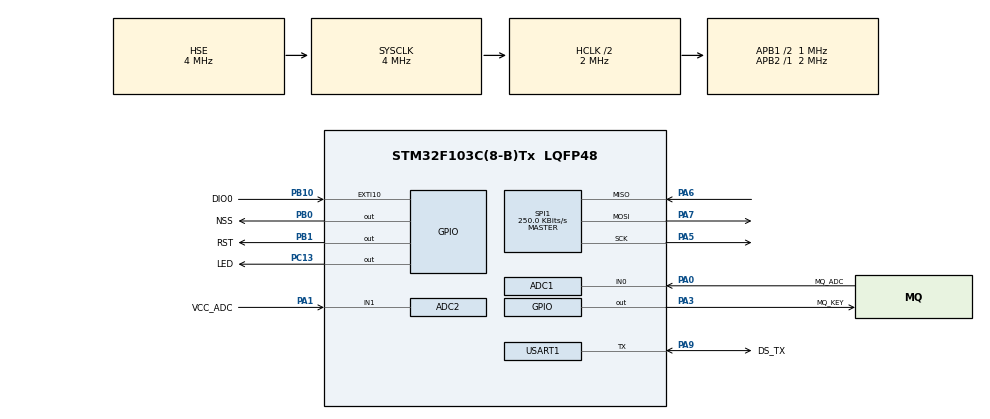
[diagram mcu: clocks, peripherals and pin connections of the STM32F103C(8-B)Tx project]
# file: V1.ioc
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ADC1.Channel-3\#ChannelRegularConversion=ADC_CHANNEL_0
ADC1.NbrOfConversionFlag=1
ADC1.Rank-3\#ChannelRegularConversion=1
ADC1.SamplingTime-3\#ChannelRegularConversion=ADC_SAMPLETIME_1CYCLE_5
ADC1.master=1
ADC2.Channel-0\#ChannelRegularConversion=ADC_CHANNEL_1
ADC2.NbrOfConversionFlag=1
ADC2.Rank-0\#ChannelRegularConversion=1
ADC2.SamplingTime-0\#ChannelRegularConversion=ADC_SAMPLETIME_1CYCLE_5
Mcu.Family=STM32F1
Mcu.Name=STM32F103C(8-B)Tx
Mcu.Package=LQFP48
NVIC.EXTI15_10_IRQn=true\:1\:0\:true\:false\:true\:true\:true\:true
NVIC.PriorityGroup=NVIC_PRIORITYGROUP_4
NVIC.TIM1_UP_IRQn=true\:2\:0\:true\:false\:true\:true\:true\:true
PA0-WKUP.GPIO_Label=MQ_ADC
PA0-WKUP.Signal=ADCx_IN0
PA1.GPIO_Label=VCC_ADC
PA1.Signal=ADCx_IN1
PA13.Mode=Serial_Wire
PA13.Signal=SYS_JTMS-SWDIO
PA14.Mode=Serial_Wire
PA14.Signal=SYS_JTCK-SWCLK
PA3.GPIO_Label=MQ_KEY
PA3.Signal=GPIO_Output
PA5.Mode=Full_Duplex_Master
PA5.Signal=SPI1_SCK
PA6.Mode=Full_Duplex_Master
PA6.Signal=SPI1_MISO
PA7.Mode=Full_Duplex_Master
PA7.Signal=SPI1_MOSI
PA9.GPIO_Label=DS_TX
PA9.Mode=Half_duplex(single_wire_mode)
PA9.Signal=USART1_TX
PB0.GPIO_Label=NSS
PB0.PinState=GPIO_PIN_SET
PB0.Signal=GPIO_Output
PB1.GPIO_Label=RST
PB1.PinState=GPIO_PIN_SET
PB1.Signal=GPIO_Output
PB10.GPIO_Label=DIO0
PB10.Signal=GPXTI10
PC13-TAMPER-RTC.GPIO_Label=LED
PC13-TAMPER-RTC.Signal=GPIO_Output
PD0-OSC_IN.Mode=HSE-External-Oscillator
PD0-OSC_IN.Signal=RCC_OSC_IN
PD1-OSC_OUT.Mode=HSE-External-Oscillator
PD1-OSC_OUT.Signal=RCC_OSC_OUT
ProjectManager.HeapSize=0x200
ProjectManager.StackSize=0x400
ProjectManager.TargetToolchain=MDK-ARM V5.27
RCC.ADCPresc=RCC_ADCPCLK2_DIV6
RCC.AHBCLKDivider=RCC_SYSCLK_DIV2
RCC.AHBFreq_Value=2000000
RCC.APB1CLKDivider=RCC_HCLK_DIV2
RCC.APB1Freq_Value=1000000
RCC.APB1TimFreq_Value=2000000
RCC.APB2Freq_Value=2000000
RCC.APB2TimFreq_Value=2000000
RCC.HCLKFreq_Value=2000000
RCC.HSEDivPLL=RCC_HSE_PREDIV_DIV2
RCC.HSE_VALUE=4000000
RCC.PLLMUL=RCC_PLL_MUL3
RCC.PLLSourceVirtual=RCC_PLLSOURCE_HSE
RCC.SYSCLKFreq_VALUE=4000000
RCC.SYSCLKSource=RCC_SYSCLKSOURCE_HSE
RCC.USBFreq_Value=6000000
SH.ADCx_IN0.0=ADC1_IN0,IN0
SH.ADCx_IN1.0=ADC2_IN1,IN1
SPI1.BaudRatePrescaler=SPI_BAUDRATEPRESCALER_8
SPI1.CalculateBaudRate=250.0 KBits/s
SPI1.Direction=SPI_DIRECTION_2LINES
SPI1.Mode=SPI_MODE_MASTER
SPI1.VirtualType=VM_MASTER
TIM1.Period=400
TIM1.Prescaler=49999
USART1.VirtualMode=VM_ASYNC
VP_TIM1_VS_ClockSourceINT.Mode=Internal
board=custom

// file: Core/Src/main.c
/* USER CODE BEGIN Header */
/**
  ******************************************************************************
  * @file           : main.c
  * @brief          : Main program body
  ******************************************************************************
  * @attention
  *
  * Copyright (c) 2025 STMicroelectronics.
  * All rights reserved.
  *
  * This software is licensed under terms that can be found in the LICENSE file
  * in the root directory of this software component.
  * If no LICENSE file comes with this software, it is provided AS-IS.
  *
  ******************************************************************************
  */
/* USER CODE END Header */
#include "main.h"
#include "adc.h"
#include "spi.h"
#include "tim.h"
#include "usart.h"
#include "gpio.h"

/* USER CODE BEGIN Includes */
#include "HelpFunction.h"
#include "LoRa.h"
#include "ds18b20.h"
#include "MQ.h"
#include "VbatControl.h"
#include <stdio.h>
#include <string.h>
#include <stdlib.h>

/* USER CODE END Includes */

/* USER CODE BEGIN PD */
#define DEVICE_ID 1
#define SLOT_DURATION 2 //dead time for time sharing

/* USER CODE END PD */

/* USER CODE BEGIN PV */
LoRa myLoRa;
MQ7 myMQ7;
DS18B20 temperatureSensor;
UseInterface myInterface;
VbatControl myVbat;

/* USER CODE END PV */

void SystemClock_Config(void);

/* USER CODE BEGIN 0 */

void HAL_GPIO_EXTI_Callback(uint16_t GPIO_Pin)
{
    if(GPIO_Pin==DIO0_Pin){
        HAL_ResumeTick();
			  __HAL_GPIO_EXTI_CLEAR_IT(GPIO_Pin);
        LoRa_receive(&myLoRa,myInterface.RxBuffer,20);
    }
}

void HAL_TIM_PeriodElapsedCallback(TIM_HandleTypeDef *htim)
{
    if(htim->Instance == TIM1)
    {
        HAL_ResumeTick();
			  __HAL_TIM_CLEAR_IT(htim, TIM_IT_UPDATE);
				myInterface.flag_work = 1;

		}
	}
/* USER CODE END 0 */

int main(void)
{

  /* MCU Configuration--------------------------------------------------------*/
  /* Reset of all peripherals, Initializes the Flash interface and the Systick. */
  HAL_Init();

  /* Configure the system clock */
  SystemClock_Config();

  /* Initialize all configured peripherals */
  MX_GPIO_Init();
  MX_SPI1_Init();
  MX_USART1_UART_Init();
  MX_ADC1_Init();
  MX_ADC2_Init();
  MX_TIM1_Init();

  /* USER CODE BEGIN 2 */
  HAL_GPIO_TogglePin(LED_GPIO_Port,LED_Pin);

  // Struct Interface

  myInterface.flag_work = 0;
	myInterface.TDMA_time = 0;
	myInterface.data.mqData = 0;
	myInterface.data.temp = 0;

  // setting LoRa
  myLoRa = newLoRa();
  myLoRa.CS_port         = NSS_GPIO_Port;
  myLoRa.CS_pin          = NSS_Pin;
  myLoRa.reset_port      = RST_GPIO_Port;
  myLoRa.reset_pin       = RST_Pin;
  myLoRa.DIO0_port       = DIO0_GPIO_Port;
  myLoRa.DIO0_pin        = DIO0_Pin;
  myLoRa.hSPIx           = &hspi1;

  myLoRa.frequency             = 433;
  myLoRa.spredingFactor        = SF_7;
  myLoRa.bandWidth             = BW_125KHz;
  myLoRa.crcRate               = CR_4_5;
  myLoRa.power                 = POWER_20db;
  myLoRa.overCurrentProtection = 100;
  myLoRa.preamble              = 8;

  if (LoRa_init(&myLoRa) == LORA_OK)
  {
      delay_ms(200);
      HAL_GPIO_TogglePin(LED_GPIO_Port,LED_Pin);
      delay_ms(200);
      HAL_GPIO_TogglePin(LED_GPIO_Port,LED_Pin);
      delay_ms(200);
      HAL_GPIO_TogglePin(LED_GPIO_Port,LED_Pin);
      delay_ms(200);
      HAL_GPIO_TogglePin(LED_GPIO_Port,LED_Pin);
  }

	else
  {
			while(1)
			{
			delay_ms(100);
      HAL_GPIO_TogglePin(LED_GPIO_Port,LED_Pin);
			}
  }

  LoRa_gotoMode(&myLoRa,RXCONTIN_MODE);

  // setting DS18B20
  DS18B20_Init(&temperatureSensor, &huart1);
  DS18B20_InitializationCommand(&temperatureSensor);
  DS18B20_ReadRom(&temperatureSensor);
  DS18B20_ReadScratchpad(&temperatureSensor);

  uint8_t settings[3];
  settings[0] = temperatureSensor.temperatureLimitHigh;
  settings[1] = temperatureSensor.temperatureLimitLow;
  settings[2] = DS18B20_12_BITS_CONFIG;
  DS18B20_InitializationCommand(&temperatureSensor);
  DS18B20_SkipRom(&temperatureSensor);
  DS18B20_WriteScratchpad(&temperatureSensor, settings);

	DS18B20_InitializationCommand(&temperatureSensor);
  DS18B20_SkipRom(&temperatureSensor);
  DS18B20_ConvertT(&temperatureSensor, DS18B20_DATA);
  DS18B20_InitializationCommand(&temperatureSensor);
  DS18B20_SkipRom(&temperatureSensor);
  DS18B20_ReadScratchpad(&temperatureSensor);
	myInterface.data.temp = temperatureSensor.temperature;

	// setting MQ7
	myMQ7 = MQ7_init(MQ_KEY_GPIO_Port,MQ_KEY_Pin,&hadc1);
	myVbat = VbatControl_init(&hadc2);

	/* USER CODE END 2 */
  /* Infinite loop */
  /* USER CODE BEGIN WHILE */
  while (1){
    HAL_GPIO_WritePin(LED_GPIO_Port, LED_Pin, GPIO_PIN_SET);
    HAL_SuspendTick();
    HAL_PWR_EnterSLEEPMode(PWR_MAINREGULATOR_ON, PWR_SLEEPENTRY_WFI);
    HAL_GPIO_WritePin(LED_GPIO_Port, LED_Pin, GPIO_PIN_RESET);

    char st[3], fn[3];
    uint32_t beacon_time = 0;

    // Проверяем, что в буфере есть данные для парсинга
    if(sscanf((char*)myInterface.RxBuffer, "%2s %lu %2s", st, &beacon_time, fn) == 3 &&
       strcmp(st, "st") == 0 && strcmp(fn, "fn") == 0){
       myInterface.TDMA_time = (beacon_time + (DEVICE_ID * SLOT_DURATION)) * 80;

        // Настройка таймера
        HAL_TIM_Base_Stop_IT(&htim1);
        __HAL_TIM_SET_AUTORELOAD(&htim1, myInterface.TDMA_time);
        __HAL_TIM_SET_COUNTER(&htim1, 0);
        __HAL_TIM_CLEAR_FLAG(&htim1, TIM_SR_UIF);
        HAL_TIM_Base_Start_IT(&htim1);

        // Подготовка датчиков
        MQ7_Start_heating(&myMQ7);
        delay_ms(100);

        // Ожидание с низким энергопотреблением
        HAL_SuspendTick();
        HAL_PWR_EnterSLEEPMode(PWR_MAINREGULATOR_ON, PWR_SLEEPENTRY_WFI);
        HAL_TIM_Base_Stop_IT(&htim1);

        // Измерение MQ7 и передача данных
				MQ7_Measurement(&myMQ7);
				myInterface.data.mqData = myMQ7.res_adc;
        MQ7_Stop_heating(&myMQ7);

				// Измерение температуры
        if (DS18B20_InitializationCommand(&temperatureSensor) == DS18B20_OK) {
            DS18B20_SkipRom(&temperatureSensor);
            DS18B20_ConvertT(&temperatureSensor, DS18B20_DATA);
            DS18B20_InitializationCommand(&temperatureSensor);
            DS18B20_SkipRom(&temperatureSensor);
            DS18B20_ReadScratchpad(&temperatureSensor);
            myInterface.data.temp = temperatureSensor.temperature;
        }
				//измерение напряжения батарейки
				VbatControl_Measurement(&myVbat);
				myInterface.data.Vbat = myVbat.Vbat;

            // Формирование сообщения
        uint32_t offset = 0;
        offset += snprintf((char*)myInterface.TxBuffer + offset,
                          sizeof(myInterface.TxBuffer) - offset,
                          "%d", DEVICE_ID);
        offset += snprintf((char*)myInterface.TxBuffer + offset,
                           sizeof(myInterface.TxBuffer) - offset,
                           " %.2f", myInterface.data.temp);
        offset += snprintf((char*)myInterface.TxBuffer + offset,
                           sizeof(myInterface.TxBuffer) - offset,
                           " %d", myInterface.data.mqData);
				offset += snprintf((char*)myInterface.TxBuffer + offset,
                           sizeof(myInterface.TxBuffer) - offset,
                           " %.2f", myInterface.data.Vbat);

         LoRa_transmit(&myLoRa, (uint8_t*)myInterface.TxBuffer, offset, 1000);
				 delay_ms(100);
				 //NVIC_SystemReset();
    }
    else
    {
        // Индикация ошибки
        for(int i = 0; i < 4; i++) {
            HAL_GPIO_TogglePin(LED_GPIO_Port, LED_Pin);
            delay_ms(200);
						//NVIC_SystemReset();
        }
        myInterface.flag_work = 0;
    }

    // Возврат в режим приема
    LoRa_gotoMode(&myLoRa, RXCONTIN_MODE);

    // Очистка буферов
    memset(myInterface.RxBuffer, 0, sizeof(myInterface.RxBuffer));
    memset(myInterface.TxBuffer, 0, sizeof(myInterface.TxBuffer));
	}
    /* USER CODE END WHILE */
}

void SystemClock_Config(void)
{
  RCC_OscInitTypeDef RCC_OscInitStruct = {0};
  RCC_ClkInitTypeDef RCC_ClkInitStruct = {0};
  RCC_PeriphCLKInitTypeDef PeriphClkInit = {0};

  /** Initializes the RCC Oscillators according to the specified parameters
  * in the RCC_OscInitTypeDef structure.
  */
  RCC_OscInitStruct.OscillatorType = RCC_OSCILLATORTYPE_HSE;
  RCC_OscInitStruct.HSEState = RCC_HSE_ON;
  RCC_OscInitStruct.PLL.PLLState = RCC_PLL_NONE;
  if (HAL_RCC_OscConfig(&RCC_OscInitStruct) != HAL_OK)
  {
    Error_Handler();
  }

  /** Initializes the CPU, AHB and APB buses clocks
  */
  RCC_ClkInitStruct.ClockType = RCC_CLOCKTYPE_HCLK|RCC_CLOCKTYPE_SYSCLK
                              |RCC_CLOCKTYPE_PCLK1|RCC_CLOCKTYPE_PCLK2;
  RCC_ClkInitStruct.SYSCLKSource = RCC_SYSCLKSOURCE_HSE;
  RCC_ClkInitStruct.AHBCLKDivider = RCC_SYSCLK_DIV2;
  RCC_ClkInitStruct.APB1CLKDivider = RCC_HCLK_DIV2;
  RCC_ClkInitStruct.APB2CLKDivider = RCC_HCLK_DIV1;

  if (HAL_RCC_ClockConfig(&RCC_ClkInitStruct, FLASH_LATENCY_0) != HAL_OK)
  {
    Error_Handler();
  }
  PeriphClkInit.PeriphClockSelection = RCC_PERIPHCLK_ADC;
  PeriphClkInit.AdcClockSelection = RCC_ADCPCLK2_DIV6;
  if (HAL_RCCEx_PeriphCLKConfig(&PeriphClkInit) != HAL_OK)
  {
    Error_Handler();
  }
}

void Error_Handler(void)
{
  /* USER CODE BEGIN Error_Handler_Debug */
  /* User can add his own implementation to report the HAL error return state */
  __disable_irq();
  while (1)
  {
		for(int i = 0; i < 4; i++) {

			HAL_GPIO_TogglePin(LED_GPIO_Port, LED_Pin);
      delay_ms(200);}

		NVIC_SystemReset();
  }
  /* USER CODE END Error_Handler_Debug */
}
